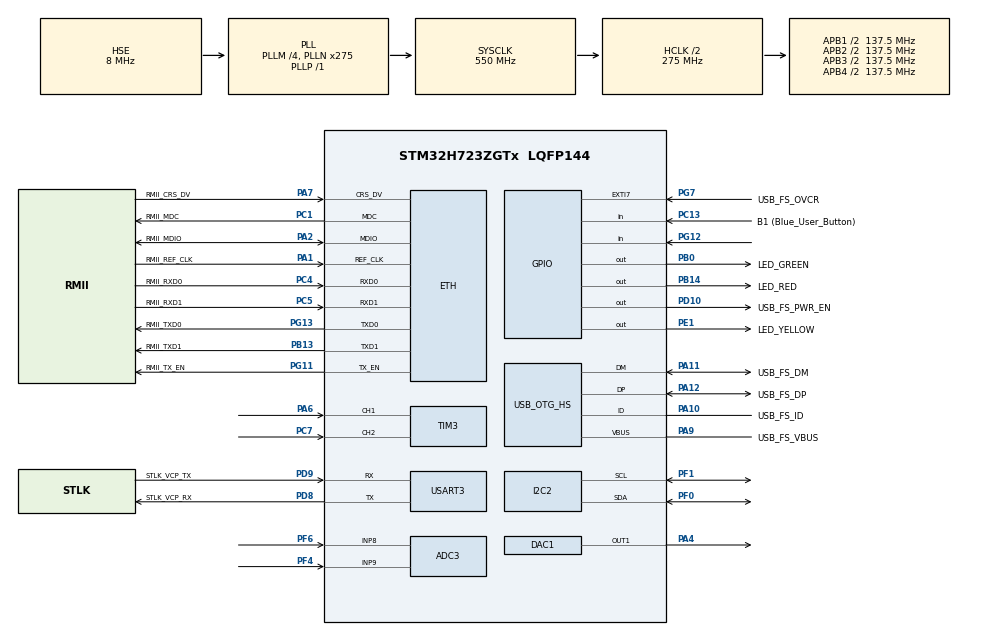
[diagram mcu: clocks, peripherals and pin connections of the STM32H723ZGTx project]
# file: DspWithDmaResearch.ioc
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ADC3.Channel-0\#ChannelRegularConversion=ADC_CHANNEL_9
ADC3.Channel-1\#ChannelRegularConversion=ADC_CHANNEL_8
ADC3.ContinuousConvMode=DISABLE
ADC3.DMAContinuousRequests=ENABLE
ADC3.ExternalTrigConv=ADC_EXTERNALTRIG_T6_TRGO
ADC3.NbrOfConversion=2
ADC3.NbrOfConversionFlag=1
ADC3.OffsetNumber-0\#ChannelRegularConversion=ADC_OFFSET_NONE
ADC3.OffsetNumber-1\#ChannelRegularConversion=ADC_OFFSET_NONE
ADC3.OffsetSaturation-0\#ChannelRegularConversion=DISABLE
ADC3.OffsetSaturation-1\#ChannelRegularConversion=DISABLE
ADC3.OffsetSign-0\#ChannelRegularConversion=ADC3_OFFSET_SIGN_NEGATIVE
ADC3.OffsetSign-1\#ChannelRegularConversion=ADC3_OFFSET_SIGN_NEGATIVE
ADC3.Rank-0\#ChannelRegularConversion=1
ADC3.Rank-1\#ChannelRegularConversion=2
ADC3.SamplingTime-0\#ChannelRegularConversion=ADC3_SAMPLETIME_2CYCLES_5
ADC3.SamplingTime-1\#ChannelRegularConversion=ADC3_SAMPLETIME_2CYCLES_5
DAC1.DAC_Channel-DAC_OUT1=DAC_CHANNEL_1
DAC1.DAC_Trigger-DAC_OUT1=DAC_TRIGGER_T6_TRGO
Dma.ADC3.0.Direction=DMA_PERIPH_TO_MEMORY
Dma.ADC3.0.EventEnable=DISABLE
Dma.ADC3.0.FIFOMode=DMA_FIFOMODE_DISABLE
Dma.ADC3.0.Instance=DMA1_Stream0
Dma.ADC3.0.MemDataAlignment=DMA_MDATAALIGN_WORD
Dma.ADC3.0.MemInc=DMA_MINC_ENABLE
Dma.ADC3.0.Mode=DMA_CIRCULAR
Dma.ADC3.0.PeriphDataAlignment=DMA_PDATAALIGN_WORD
Dma.ADC3.0.PeriphInc=DMA_PINC_DISABLE
Dma.ADC3.0.Polarity=HAL_DMAMUX_REQ_GEN_RISING
Dma.ADC3.0.Priority=DMA_PRIORITY_HIGH
Dma.ADC3.0.RequestNumber=1
Dma.ADC3.0.SignalID=NONE
Dma.ADC3.0.SyncEnable=DISABLE
Dma.ADC3.0.SyncPolarity=HAL_DMAMUX_SYNC_NO_EVENT
Dma.ADC3.0.SyncRequestNumber=1
Dma.ADC3.0.SyncSignalID=NONE
Dma.DAC1_CH1.1.Direction=DMA_MEMORY_TO_PERIPH
Dma.DAC1_CH1.1.EventEnable=DISABLE
Dma.DAC1_CH1.1.FIFOMode=DMA_FIFOMODE_DISABLE
Dma.DAC1_CH1.1.Instance=DMA1_Stream5
Dma.DAC1_CH1.1.MemDataAlignment=DMA_MDATAALIGN_WORD
Dma.DAC1_CH1.1.MemInc=DMA_MINC_ENABLE
Dma.DAC1_CH1.1.Mode=DMA_CIRCULAR
Dma.DAC1_CH1.1.PeriphDataAlignment=DMA_PDATAALIGN_WORD
Dma.DAC1_CH1.1.PeriphInc=DMA_PINC_DISABLE
Dma.DAC1_CH1.1.Polarity=HAL_DMAMUX_REQ_GEN_RISING
Dma.DAC1_CH1.1.Priority=DMA_PRIORITY_HIGH
Dma.DAC1_CH1.1.RequestNumber=1
Dma.DAC1_CH1.1.SignalID=NONE
Dma.DAC1_CH1.1.SyncEnable=DISABLE
Dma.DAC1_CH1.1.SyncPolarity=HAL_DMAMUX_SYNC_NO_EVENT
Dma.DAC1_CH1.1.SyncRequestNumber=1
Dma.DAC1_CH1.1.SyncSignalID=NONE
Dma.Request0=ADC3
Dma.Request1=DAC1_CH1
ETH.MediaInterface=HAL_ETH_RMII_MODE
I2C2.Timing=0x60404E72
Mcu.Family=STM32H7
Mcu.Name=STM32H723ZGTx
Mcu.Package=LQFP144
NVIC.DMA1_Stream0_IRQn=true\:0\:0\:false\:false\:true\:false\:true\:true
NVIC.DMA1_Stream5_IRQn=true\:0\:0\:false\:false\:true\:false\:true\:true
NVIC.PriorityGroup=NVIC_PRIORITYGROUP_4
NVIC.TIM3_IRQn=true\:0\:0\:false\:false\:true\:true\:true\:true
PA1.GPIO_Label=RMII_REF_CLK
PA1.Mode=RMII
PA1.Signal=ETH_REF_CLK
PA10.GPIO_Label=USB_FS_ID
PA10.Mode=OTG/Dual-Role-Device-FS
PA10.Signal=USB_OTG_HS_ID
PA11.GPIO_Label=USB_FS_DM
PA11.Mode=OTG/Dual-Role-Device-FS
PA11.Signal=USB_OTG_HS_DM
PA12.GPIO_Label=USB_FS_DP
PA12.Mode=OTG/Dual-Role-Device-FS
PA12.Signal=USB_OTG_HS_DP
PA13(JTMS/SWDIO).GPIO_Label=SWDIO
PA13(JTMS/SWDIO).Mode=Trace_Asynchronous_SW
PA13(JTMS/SWDIO).Signal=DEBUG_JTMS-SWDIO
PA14(JTCK/SWCLK).GPIO_Label=SWCLK
PA14(JTCK/SWCLK).Mode=Trace_Asynchronous_SW
PA14(JTCK/SWCLK).Signal=DEBUG_JTCK-SWCLK
PA2.GPIO_Label=RMII_MDIO
PA2.Mode=RMII
PA2.Signal=ETH_MDIO
PA4.Signal=COMP_DAC11_group
PA6.Signal=S_TIM3_CH1
PA7.GPIO_Label=RMII_CRS_DV
PA7.Mode=RMII
PA7.Signal=ETH_CRS_DV
PA9.GPIO_Label=USB_FS_VBUS
PA9.Mode=Activate_VBUS_FS
PA9.Signal=USB_OTG_HS_VBUS
PB0.GPIO_Label=LED_GREEN
PB0.Signal=GPIO_Output
PB13.GPIO_Label=RMII_TXD1
PB13.Mode=RMII
PB13.Signal=ETH_TXD1
PB14.GPIO_Label=LED_RED
PB14.Signal=GPIO_Output
PB3(JTDO/TRACESWO).GPIO_Label=SWO
PB3(JTDO/TRACESWO).Mode=Trace_Asynchronous_SW
PB3(JTDO/TRACESWO).Signal=DEBUG_JTDO-SWO
PC1.GPIO_Label=RMII_MDC
PC1.Mode=RMII
PC1.Signal=ETH_MDC
PC13.GPIO_Label=B1 (Blue_User_Button)
PC13.Signal=GPIO_Input
PC14-OSC32_IN.Mode=LSE-External-Oscillator
PC14-OSC32_IN.Signal=RCC_OSC32_IN
PC15-OSC32_OUT.Mode=LSE-External-Oscillator
PC15-OSC32_OUT.Signal=RCC_OSC32_OUT
PC4.GPIO_Label=RMII_RXD0
PC4.Mode=RMII
PC4.Signal=ETH_RXD0
PC5.GPIO_Label=RMII_RXD1
PC5.Mode=RMII
PC5.Signal=ETH_RXD1
PC7.Signal=S_TIM3_CH2
PD10.GPIO_Label=USB_FS_PWR_EN
PD10.Signal=GPIO_Output
PD8.GPIO_Label=STLK_VCP_RX
PD8.Mode=Asynchronous
PD8.Signal=USART3_TX
PD9.GPIO_Label=STLK_VCP_TX
PD9.Mode=Asynchronous
PD9.Signal=USART3_RX
PE1.GPIO_Label=LED_YELLOW
PE1.Signal=GPIO_Output
PF0.Mode=I2C
PF0.Signal=I2C2_SDA
PF1.Mode=I2C
PF1.Signal=I2C2_SCL
PF4.Mode=IN9-Single-Ended
PF4.Signal=ADC3_INP9
PF6.Mode=IN8-Single-Ended
PF6.Signal=ADC3_INP8
PG11.GPIO_Label=RMII_TX_EN
PG11.Mode=RMII
PG11.Signal=ETH_TX_EN
PG12.Signal=GPIO_Input
PG13.GPIO_Label=RMII_TXD0
PG13.Mode=RMII
PG13.Signal=ETH_TXD0
PG7.GPIO_Label=USB_FS_OVCR
PG7.Signal=GPXTI7
PH0-OSC_IN.GPIO_Label=MCO
PH0-OSC_IN.Mode=HSE-External-Clock-Source
PH0-OSC_IN.Signal=RCC_OSC_IN
PH1-OSC_OUT.Signal=RCC_OSC_OUT
ProjectManager.HeapSize=0x200
ProjectManager.StackSize=0x400
ProjectManager.TargetToolchain=STM32CubeIDE
RCC.ADCFreq_Value=96000000
RCC.APB1Freq_Value=137500000
RCC.APB2Freq_Value=137500000
RCC.APB3Freq_Value=137500000
RCC.APB4Freq_Value=137500000
RCC.CortexFreq_Value=550000000
RCC.D1PPRE=RCC_APB3_DIV2
RCC.D2PPRE1=RCC_APB1_DIV2
RCC.D2PPRE2=RCC_APB2_DIV2
RCC.D3PPRE=RCC_APB4_DIV2
RCC.DIVM1=4
RCC.DIVM2=1
RCC.DIVN1=275
RCC.DIVN2=24
RCC.DIVP1=1
RCC.DIVQ1=4
RCC.HCLKFreq_Value=275000000
RCC.HPRE=RCC_HCLK_DIV2
RCC.HSE_VALUE=8000000
RCC.PLLFRACN=0
RCC.PLLSourceVirtual=RCC_PLLSOURCE_HSE
RCC.SYSCLKFreq_VALUE=550000000
RCC.SYSCLKSource=RCC_SYSCLKSOURCE_PLLCLK
RCC.USBCLockSelection=RCC_USBCLKSOURCE_HSI48
RCC.USBFreq_Value=48000000
SH.COMP_DAC11_group.0=DAC1_OUT1,DAC_OUT1
SH.S_TIM3_CH1.0=TIM3_CH1,Encoder_Interface
SH.S_TIM3_CH2.0=TIM3_CH2,Encoder_Interface
TIM3.EncoderMode=TIM_ENCODERMODE_TI12
TIM3.IC1Filter=15
TIM3.IC1Polarity=TIM_ICPOLARITY_FALLING
TIM3.IC1Prescaler=TIM_ICPSC_DIV2
TIM3.IC2Filter=15
TIM3.IC2Polarity=TIM_ICPOLARITY_FALLING
TIM3.IC2Prescaler=TIM_ICPSC_DIV8
TIM6.Period=6236-1
TIM6.TIM_MasterOutputTrigger=TIM_TRGO_UPDATE
USART3.VirtualMode-Asynchronous=VM_ASYNC
VP_TIM6_VS_ClockSourceINT.Mode=Enable_Timer
board=NUCLEO-H723ZG

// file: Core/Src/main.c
/* USER CODE BEGIN Header */
/**
  ******************************************************************************
  * @file           : main.c
  * @brief          : Main program body
  ******************************************************************************
  * @attention
  *
  * Copyright (c) 2022 STMicroelectronics.
  * All rights reserved.
  *
  * This software is licensed under terms that can be found in the LICENSE file
  * in the root directory of this software component.
  * If no LICENSE file comes with this software, it is provided AS-IS.
  *
  ******************************************************************************
  */
/* USER CODE END Header */
#include "main.h"
#include "adc.h"
#include "dac.h"
#include "dma.h"
#include "eth.h"
#include "i2c.h"
#include "tim.h"
#include "usart.h"
#include "usb_otg.h"
#include "gpio.h"

/* USER CODE BEGIN Includes */
#include <stdio.h>
#include "arm_math.h"
#include "fir.h"
#include "fir_coeffs_361Taps_44100_200_3000.h"
#include "liquidcrystal_i2c.h"
#include "si5351.h"
/* USER CODE END Includes */

/* USER CODE BEGIN PTD */
enum AdcDmaState {
	FILLING_FIRST_HALF, FILLING_SECOND_HALF
};
/* USER CODE END PTD */

/* USER CODE BEGIN PD */
#define DATA_SIZE 4096
#define FULL_BUFFER_SIZE 8192
#define SAMPLE_RATE 44100
#define MAX_VALUE_FROM_ADC 0x0FFF
#define NUMBER_OF_ADC_CHANNELS 2

#define FREQUENCY_STEP_VARIANTS 4
#define MIN_FREQUENCY 5800000
#define MAX_FREQUENCY 7600000

#define ENCODER_SW_PIN GPIOG, GPIO_PIN_12
#define DEBOUNCE_DELAY 50 // milliseconds

#define SI5351_CORRECTION 0
/* USER CODE END PD */

/* USER CODE BEGIN PV */
static arm_fir_instance_f32 g_filterFir;
static float32_t g_filterFirState[FILTER_TAP_NUM + DATA_SIZE - 1];

static arm_fir_instance_f32 g_delayFir;
static float32_t g_delayFirState[HILBERT_AND_DELAY_FILTERS_TAP_NUM + DATA_SIZE - 1];

static arm_fir_instance_f32 g_hilbertFir;
static float32_t g_hilbertFirState[HILBERT_AND_DELAY_FILTERS_TAP_NUM + DATA_SIZE - 1];

static uint32_t g_adcBuffer[NUMBER_OF_ADC_CHANNELS * FULL_BUFFER_SIZE];

static float32_t g_iBuffer[DATA_SIZE];
static float32_t g_qBuffer[DATA_SIZE];

static uint32_t g_dacBuffer[FULL_BUFFER_SIZE];

static float32_t g_inputBuffer[DATA_SIZE];
static float32_t g_outputBuffer[DATA_SIZE];

static volatile enum AdcDmaState g_adcDmaState = FILLING_FIRST_HALF;
static volatile int g_isDspPerformed = 0;

static int g_frequencyStepIndex = 2;
static long g_frequencySteps[FREQUENCY_STEP_VARIANTS] = { 10, 100, 1000, 10000 };
static char *g_frequencyStepNames[FREQUENCY_STEP_VARIANTS] = { "10 Hz ", "100 Hz", "1 kHz ", "10 kHz" };

static uint32_t g_frequency = 7200000;

static int g_lastEncoderSwitchLevel;
static unsigned long g_lastEncoderSwitchLevelChangeTimestamp;

static int16_t g_lastEncoderCounter = 0;
static int g_shouldApplyFrequency = 0;
/* USER CODE END PV */

void SystemClock_Config(void);

/* USER CODE BEGIN 0 */
void HAL_ADC_ConvHalfCpltCallback(ADC_HandleTypeDef *hadc)
{
	g_adcDmaState = FILLING_SECOND_HALF;
	g_isDspPerformed = 0;
}

void HAL_ADC_ConvCpltCallback(ADC_HandleTypeDef *hadc)
{
	g_adcDmaState = FILLING_FIRST_HALF;
	g_isDspPerformed = 0;
}

static void renderUI()
{
	char string[17];

	HD44780_SetCursor(0, 0);
	memset(string, 0, sizeof(string));
	sprintf(string, "Freq: %lu Hz", g_frequency);
	HD44780_PrintStr(string);

	HD44780_SetCursor(0, 1);
	memset(string, 0, sizeof(string));
	sprintf(string, "Step: %s", g_frequencyStepNames[g_frequencyStepIndex]);
	HD44780_PrintStr(string);
}

static void updateFrequencyStep() {
	g_frequencyStepIndex++;
	if (g_frequencyStepIndex >= FREQUENCY_STEP_VARIANTS) {
		g_frequencyStepIndex = 0;
	}
}

static void increaseFrequency() {
	g_frequency += g_frequencySteps[g_frequencyStepIndex];
	if (g_frequency > MAX_FREQUENCY) {
		g_frequency = MAX_FREQUENCY;
	}
}

static void decreaseFrequency() {
	g_frequency -= g_frequencySteps[g_frequencyStepIndex];
	if (g_frequency < MIN_FREQUENCY) {
		g_frequency = MIN_FREQUENCY;
	}
}

static void applyFrequency(uint32_t frequency) {
	si5351PLLConfig_t si5351PllConfig;
	si5351OutputConfig_t si5351outputConfig;

	si5351_CalcIQ(g_frequency, &si5351PllConfig, &si5351outputConfig);

	uint8_t phaseOffset = (uint8_t) si5351outputConfig.div;
	si5351_SetupOutput(0, SI5351_PLL_A, SI5351_DRIVE_STRENGTH_4MA, &si5351outputConfig, 0);
	si5351_SetupOutput(2, SI5351_PLL_A, SI5351_DRIVE_STRENGTH_4MA, &si5351outputConfig, phaseOffset);
	si5351_SetupPLL(SI5351_PLL_A, &si5351PllConfig);
}

static void processInputAndUpdateUiIfNecessary() {
	int encoderSwitchLevel = HAL_GPIO_ReadPin(ENCODER_SW_PIN);
	unsigned long currentTimestamp = HAL_GetTick();

	if (encoderSwitchLevel != g_lastEncoderSwitchLevel && (currentTimestamp - g_lastEncoderSwitchLevelChangeTimestamp) > DEBOUNCE_DELAY) {
		g_lastEncoderSwitchLevel = encoderSwitchLevel;
		g_lastEncoderSwitchLevelChangeTimestamp = currentTimestamp;
		if (encoderSwitchLevel == GPIO_PIN_SET) {
			updateFrequencyStep();
			renderUI();
		}
	}

	if (g_shouldApplyFrequency) {
		g_shouldApplyFrequency = 0;
		applyFrequency(g_frequency);
		renderUI();
	}
}

static void performDsp()
{
	if (!g_isDspPerformed) {
		g_isDspPerformed = 1;

		uint32_t currentDacIndex = __HAL_DMA_GET_COUNTER(hdac1.DMA_Handle1);

		switch (g_adcDmaState) {
		case FILLING_FIRST_HALF:
			for (int i = 0; i < DATA_SIZE; i++) {
				g_iBuffer[i] = g_adcBuffer[NUMBER_OF_ADC_CHANNELS * DATA_SIZE + NUMBER_OF_ADC_CHANNELS * i];
				g_qBuffer[i] = g_adcBuffer[NUMBER_OF_ADC_CHANNELS * DATA_SIZE + NUMBER_OF_ADC_CHANNELS * i + 1];
			}
			break;

		case FILLING_SECOND_HALF:
			for (int i = 0; i < DATA_SIZE; i++) {
				g_iBuffer[i] = g_adcBuffer[NUMBER_OF_ADC_CHANNELS * i];
				g_qBuffer[i] = g_adcBuffer[NUMBER_OF_ADC_CHANNELS * i + 1];
			}
			break;
		}

		/*for (int i = 0; i < DATA_SIZE; i++) {
			g_inputBuffer[i] = g_iBuffer[i];
		}*/

		if (HAL_GPIO_ReadPin(GPIOC, GPIO_PIN_13) != GPIO_PIN_SET) {
			//arm_fir_f32(&g_delayFir, g_inputBuffer, g_outputBuffer, DATA_SIZE);

			arm_fir_f32(&g_delayFir, g_iBuffer, g_inputBuffer, DATA_SIZE);
			arm_fir_f32(&g_hilbertFir, g_qBuffer, g_iBuffer, DATA_SIZE);
			arm_add_f32(g_inputBuffer, g_iBuffer, g_qBuffer, DATA_SIZE);

			/*for (int i = 0; i < DATA_SIZE; i++) {
				g_inputBuffer[i] = g_qBuffer[i] + g_outputBuffer[i];
			}*/

			arm_fir_f32(&g_filterFir, g_qBuffer, g_outputBuffer, DATA_SIZE);

			for (int i = 0; i < DATA_SIZE; i++) {
				g_outputBuffer[i] += MAX_VALUE_FROM_ADC / 2;
			}

			/*for (int i = 0; i < DATA_SIZE; i++) {
				g_outputBuffer[i] = g_qBuffer[i];
			}*/
		} else {
			for (int i = 0; i < DATA_SIZE; i++) {
				g_outputBuffer[i] = g_qBuffer[i];
			}
		}

		for (int i = 0; i < DATA_SIZE; i++) {
			int dstDacIndex = currentDacIndex + DATA_SIZE + i;
			if (dstDacIndex >= FULL_BUFFER_SIZE) {
				dstDacIndex -= FULL_BUFFER_SIZE;
			}
			g_dacBuffer[dstDacIndex] = g_outputBuffer[i];
		}
	}
}

void HAL_TIM_IC_CaptureCallback(TIM_HandleTypeDef *htim)
{
	int16_t encoderCounter = (int16_t) __HAL_TIM_GET_COUNTER(htim);

	if (encoderCounter > g_lastEncoderCounter) {
		decreaseFrequency();

		g_lastEncoderCounter = encoderCounter;

		g_shouldApplyFrequency = 1;
	} else if (encoderCounter < g_lastEncoderCounter) {
		increaseFrequency();

		g_lastEncoderCounter = encoderCounter;

		g_shouldApplyFrequency = 1;
	}
}
/* USER CODE END 0 */

int main(void)
{

  /* MCU Configuration--------------------------------------------------------*/

  /* Reset of all peripherals, Initializes the Flash interface and the Systick. */
  HAL_Init();

  /* Configure the system clock */
  SystemClock_Config();

  /* Initialize all configured peripherals */
  MX_GPIO_Init();
  MX_DMA_Init();
  MX_USART3_UART_Init();
  MX_USB_OTG_HS_USB_Init();
  MX_ETH_Init();
  MX_TIM6_Init();
  MX_ADC3_Init();
  MX_DAC1_Init();
  MX_I2C2_Init();
  MX_TIM3_Init();
  /* USER CODE BEGIN 2 */
  HAL_TIM_Encoder_Start_IT(&htim3, TIM_CHANNEL_ALL);
  HAL_TIM_Base_Start(&htim6);
  HAL_ADC_Start_DMA(&hadc3, g_adcBuffer, NUMBER_OF_ADC_CHANNELS * FULL_BUFFER_SIZE);
  HAL_DAC_Start_DMA(&hdac1, DAC1_CHANNEL_1, g_dacBuffer, FULL_BUFFER_SIZE, DAC_ALIGN_12B_R);

  //delay_taps[84] = 1; // initialize delay FIR taps

  arm_fir_init_f32(&g_filterFir, FILTER_TAP_NUM, filter_taps, g_filterFirState, DATA_SIZE);
  arm_fir_init_f32(&g_delayFir, HILBERT_AND_DELAY_FILTERS_TAP_NUM, coeffs_delay_361, g_delayFirState, DATA_SIZE);
  arm_fir_init_f32(&g_hilbertFir, HILBERT_AND_DELAY_FILTERS_TAP_NUM, coeffs_hilbert_361Taps_44100_200_3000, g_hilbertFirState, DATA_SIZE);
  /* USER CODE END 2 */

  /* Infinite loop */
  /* USER CODE BEGIN WHILE */
  si5351_Init(SI5351_CORRECTION);

  si5351PLLConfig_t si5351PllConfig;
  si5351OutputConfig_t si5351outputConfig;

  si5351_CalcIQ(g_frequency, &si5351PllConfig, &si5351outputConfig);
  /*
   * `phaseOffset` is a 7bit value, calculated from Fpll, Fclk and desired phase shift.
   * To get N° phase shift the value should be round( (N/360)*(4*Fpll/Fclk) )
   * Two channels should use the same PLL to make it work. There are other restrictions.
   * Please see AN619 for more details.
   *
   * si5351_CalcIQ() chooses PLL and MS parameters so that:
   *   Fclk in [1.4..100] MHz
   *   out_conf.div in [9..127]
   *   out_conf.num = 0
   *   out_conf.denum = 1
   *   Fpll = out_conf.div * Fclk.
   * This automatically gives 90° phase shift between two channels if you pass
   * 0 and out_conf.div as a phaseOffset for these channels.
   */
  uint8_t phaseOffset = (uint8_t) si5351outputConfig.div;
  si5351_SetupOutput(0, SI5351_PLL_A, SI5351_DRIVE_STRENGTH_4MA, &si5351outputConfig, 0);
  si5351_SetupOutput(2, SI5351_PLL_A, SI5351_DRIVE_STRENGTH_4MA, &si5351outputConfig, phaseOffset);

  /*
   * The order is important! Setup the channels first, then setup the PLL.
   * Alternatively you could reset the PLL after setting up PLL and channels.
   * However since _SetupPLL() always resets the PLL this would only cause
   * sending extra I2C commands.
   */
  si5351_SetupPLL(SI5351_PLL_A, &si5351PllConfig);
  si5351_EnableOutputs((1<<0) | (1<<2));

  g_lastEncoderSwitchLevel = HAL_GPIO_ReadPin(ENCODER_SW_PIN);
  g_lastEncoderSwitchLevelChangeTimestamp = HAL_GetTick();

  HD44780_Init(2);
  HD44780_Clear();

  renderUI();
  while (1)
  {
    /* USER CODE END WHILE */

    /* USER CODE BEGIN 3 */
	  processInputAndUpdateUiIfNecessary();
	  performDsp();
  }
  /* USER CODE END 3 */
}

void SystemClock_Config(void)
{
  RCC_OscInitTypeDef RCC_OscInitStruct = {0};
  RCC_ClkInitTypeDef RCC_ClkInitStruct = {0};

  /** Supply configuration update enable
  */
  HAL_PWREx_ConfigSupply(PWR_LDO_SUPPLY);

  /** Configure the main internal regulator output voltage
  */
  __HAL_PWR_VOLTAGESCALING_CONFIG(PWR_REGULATOR_VOLTAGE_SCALE0);

  while(!__HAL_PWR_GET_FLAG(PWR_FLAG_VOSRDY)) {}

  /** Initializes the RCC Oscillators according to the specified parameters
  * in the RCC_OscInitTypeDef structure.
  */
  RCC_OscInitStruct.OscillatorType = RCC_OSCILLATORTYPE_HSI48|RCC_OSCILLATORTYPE_HSE;
  RCC_OscInitStruct.HSEState = RCC_HSE_BYPASS;
  RCC_OscInitStruct.HSI48State = RCC_HSI48_ON;
  RCC_OscInitStruct.PLL.PLLState = RCC_PLL_ON;
  RCC_OscInitStruct.PLL.PLLSource = RCC_PLLSOURCE_HSE;
  RCC_OscInitStruct.PLL.PLLM = 4;
  RCC_OscInitStruct.PLL.PLLN = 275;
  RCC_OscInitStruct.PLL.PLLP = 1;
  RCC_OscInitStruct.PLL.PLLQ = 4;
  RCC_OscInitStruct.PLL.PLLR = 2;
  RCC_OscInitStruct.PLL.PLLRGE = RCC_PLL1VCIRANGE_1;
  RCC_OscInitStruct.PLL.PLLVCOSEL = RCC_PLL1VCOWIDE;
  RCC_OscInitStruct.PLL.PLLFRACN = 0;
  if (HAL_RCC_OscConfig(&RCC_OscInitStruct) != HAL_OK)
  {
    Error_Handler();
  }

  /** Initializes the CPU, AHB and APB buses clocks
  */
  RCC_ClkInitStruct.ClockType = RCC_CLOCKTYPE_HCLK|RCC_CLOCKTYPE_SYSCLK
                              |RCC_CLOCKTYPE_PCLK1|RCC_CLOCKTYPE_PCLK2
                              |RCC_CLOCKTYPE_D3PCLK1|RCC_CLOCKTYPE_D1PCLK1;
  RCC_ClkInitStruct.SYSCLKSource = RCC_SYSCLKSOURCE_PLLCLK;
  RCC_ClkInitStruct.SYSCLKDivider = RCC_SYSCLK_DIV1;
  RCC_ClkInitStruct.AHBCLKDivider = RCC_HCLK_DIV2;
  RCC_ClkInitStruct.APB3CLKDivider = RCC_APB3_DIV2;
  RCC_ClkInitStruct.APB1CLKDivider = RCC_APB1_DIV2;
  RCC_ClkInitStruct.APB2CLKDivider = RCC_APB2_DIV2;
  RCC_ClkInitStruct.APB4CLKDivider = RCC_APB4_DIV2;

  if (HAL_RCC_ClockConfig(&RCC_ClkInitStruct, FLASH_LATENCY_3) != HAL_OK)
  {
    Error_Handler();
  }
}

void Error_Handler(void)
{
  __disable_irq();
  while (1)
  {
  }
}
